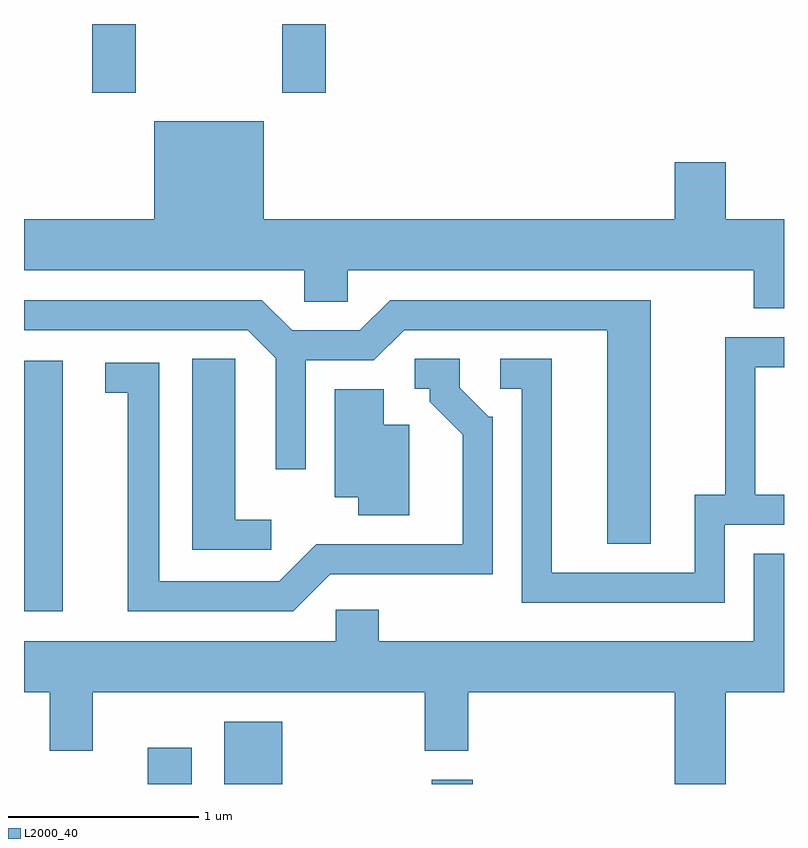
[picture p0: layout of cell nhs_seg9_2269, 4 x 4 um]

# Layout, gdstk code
import gdstk
lib = gdstk.Library(unit=1e-6, precision=1e-09)
def R(c, l, rs):  # rectangles x0, y0, x1, y1
    for r in rs: c.add(gdstk.rectangle(r[:2], r[2:], *l))
def P(c, l, *ps):  # polygons
    for p in ps: c.add(gdstk.Polygon(p, *l))
L2000_40 = (2000, 40)

nhs_seg9_2269 = lib.new_cell('nhs_seg9_2269')
R(nhs_seg9_2269, L2000_40, [(252.261,2002.432,252.494,2002.624), (252.666,2002.432,252.969,2002.759), (253.756,2002.432,253.974,2002.454), (251.611,2003.341,251.814,2004.659), (251.971,2006.071,252.199,2006.432), (252.971,2006.071,253.199,2006.432)])
P(nhs_seg9_2269, L2000_40, [(255.611,2005.404),(255.304,2005.404),(255.304,2005.704),(255.036,2005.704),(255.036,2005.404),(252.874,2005.404),(252.874,2005.919),(252.296,2005.919),(252.296,2005.404),(251.611,2005.404),(251.611,2005.136),(253.086,2005.136),(253.086,2004.971),(253.314,2004.971),(253.314,2005.136),(255.451,2005.136),(255.451,2004.936),(255.611,2004.936)],
  [(254.909,2004.979),(253.539,2004.979),(253.379,2004.819),(253.022,2004.819),(252.862,2004.979),(251.611,2004.979),(251.611,2004.821),(252.789,2004.821),(252.936,2004.674),(252.936,2004.088),(253.094,2004.088),(253.094,2004.661),(253.452,2004.661),(253.612,2004.821),(254.681,2004.821),(254.681,2003.696),(254.909,2003.696)],
  [(255.299,2003.796),(255.611,2003.796),(255.611,2003.954),(255.459,2003.954),(255.459,2004.626),(255.611,2004.626),(255.611,2004.784),(255.301,2004.784),(255.301,2003.954),(255.141,2003.954),(255.141,2003.544),(254.389,2003.544),(254.389,2004.669),(254.118,2004.669),(254.118,2004.511),(254.231,2004.511),(254.231,2003.386),(255.299,2003.386)],
  [(253.222,2003.536),(254.079,2003.536),(254.079,2004.364),(254.057,2004.364),(253.904,2004.517),(253.904,2004.669),(253.668,2004.669),(253.668,2004.511),(253.746,2004.511),(253.746,2004.444),(253.921,2004.269),(253.921,2003.694),(253.149,2003.694),(252.954,2003.499),(252.324,2003.499),(252.324,2004.649),(252.038,2004.649),(252.038,2004.491),(252.156,2004.491),(252.156,2003.341),(253.027,2003.341)],
  [(252.913,2003.824),(252.724,2003.824),(252.724,2004.669),(252.496,2004.669),(252.496,2003.666),(252.913,2003.666)],
  [(253.639,2004.324),(253.504,2004.324),(253.504,2004.509),(253.246,2004.509),(253.246,2003.941),(253.371,2003.941),(253.371,2003.846),(253.639,2003.846)],
  [(255.304,2002.916),(255.611,2002.916),(255.611,2003.644),(255.451,2003.644),(255.451,2003.184),(253.479,2003.184),(253.479,2003.349),(253.251,2003.349),(253.251,2003.184),(251.611,2003.184),(251.611,2002.916),(251.746,2002.916),(251.746,2002.606),(251.974,2002.606),(251.974,2002.916),(253.721,2002.916),(253.721,2002.606),(253.949,2002.606),(253.949,2002.916),(255.036,2002.916),(255.036,2002.432),(255.304,2002.432)])

lib.write_gds('nhs_seg9_2269.gds')
